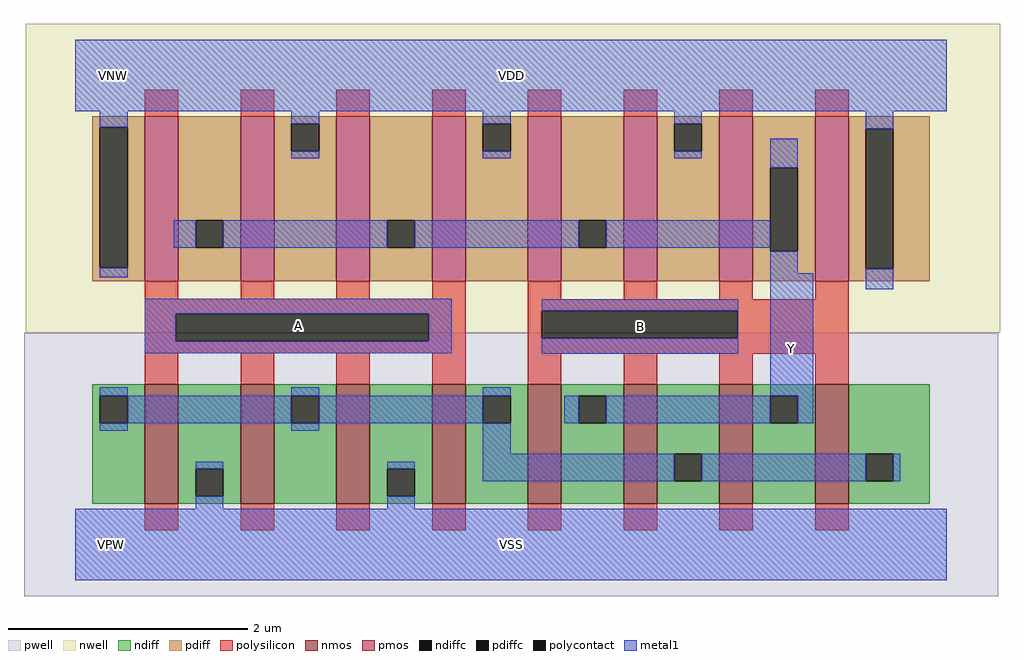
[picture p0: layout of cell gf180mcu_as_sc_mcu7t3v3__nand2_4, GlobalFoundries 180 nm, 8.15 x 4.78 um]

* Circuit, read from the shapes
.subckt gf180mcu_as_sc_mcu7t3v3__nand2_4 VDD VNW VPW VSS Y A B
XM1 VSS A n1 VPW nfet_03v3 w=1u l=0.28u m=4
XM2 Y B n1 VPW nfet_03v3 w=1u l=0.28u m=4
XM3 Y A VDD VNW pfet_03v3 w=1.38u l=0.28u m=4
XM4 Y B VDD VNW pfet_03v3 w=1.38u l=0.28u m=4
.ends

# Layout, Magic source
magic
tech gf180mcuD
magscale 1 10
<< nwell >>
rect -83 354 1545 870
<< pwell >>
rect -86 -86 1542 354
<< nmos >>
rect 116 68 172 268
rect 276 68 332 268
rect 436 68 492 268
rect 596 68 652 268
rect 756 68 812 268
rect 916 68 972 268
rect 1076 68 1132 268
rect 1236 68 1292 268
<< pmos >>
rect 116 440 172 716
rect 276 440 332 716
rect 436 440 492 716
rect 596 440 652 716
rect 756 440 812 716
rect 916 440 972 716
rect 1076 440 1132 716
rect 1236 440 1292 716
<< ndiff >>
rect 28 249 116 268
rect 28 203 41 249
rect 87 203 116 249
rect 28 68 116 203
rect 172 127 276 268
rect 172 81 201 127
rect 247 81 276 127
rect 172 68 276 81
rect 332 249 436 268
rect 332 203 361 249
rect 407 203 436 249
rect 332 68 436 203
rect 492 127 596 268
rect 492 81 521 127
rect 567 81 596 127
rect 492 68 596 81
rect 652 249 756 268
rect 652 203 681 249
rect 727 203 756 249
rect 652 68 756 203
rect 812 249 916 268
rect 812 203 841 249
rect 887 203 916 249
rect 812 68 916 203
rect 972 152 1076 268
rect 972 106 1001 152
rect 1047 106 1076 152
rect 972 68 1076 106
rect 1132 249 1236 268
rect 1132 203 1161 249
rect 1207 203 1236 249
rect 1132 68 1236 203
rect 1292 152 1428 268
rect 1292 106 1321 152
rect 1367 106 1428 152
rect 1292 68 1428 106
<< pdiff >>
rect 28 697 116 716
rect 28 463 41 697
rect 87 463 116 697
rect 28 440 116 463
rect 172 542 276 716
rect 172 496 201 542
rect 247 496 276 542
rect 172 440 276 496
rect 332 703 436 716
rect 332 657 361 703
rect 407 657 436 703
rect 332 440 436 657
rect 492 542 596 716
rect 492 496 521 542
rect 567 496 596 542
rect 492 440 596 496
rect 652 703 756 716
rect 652 657 681 703
rect 727 657 756 703
rect 652 440 756 657
rect 812 542 916 716
rect 812 496 841 542
rect 887 496 916 542
rect 812 440 916 496
rect 972 703 1076 716
rect 972 657 1001 703
rect 1047 657 1076 703
rect 972 440 1076 657
rect 1132 630 1236 716
rect 1132 490 1161 630
rect 1207 490 1236 630
rect 1132 440 1236 490
rect 1292 695 1428 716
rect 1292 461 1321 695
rect 1367 461 1428 695
rect 1292 440 1428 461
<< ndiffc >>
rect 41 203 87 249
rect 201 81 247 127
rect 361 203 407 249
rect 521 81 567 127
rect 681 203 727 249
rect 841 203 887 249
rect 1001 106 1047 152
rect 1161 203 1207 249
rect 1321 106 1367 152
<< pdiffc >>
rect 41 463 87 697
rect 201 496 247 542
rect 361 657 407 703
rect 521 496 567 542
rect 681 657 727 703
rect 841 496 887 542
rect 1001 657 1047 703
rect 1161 490 1207 630
rect 1321 461 1367 695
<< polysilicon >>
rect 116 716 172 760
rect 276 716 332 760
rect 436 716 492 760
rect 596 716 652 760
rect 756 716 812 760
rect 916 716 972 760
rect 1076 716 1132 760
rect 1236 716 1292 760
rect 116 411 172 440
rect 276 411 332 440
rect 436 411 492 440
rect 596 411 652 440
rect 116 386 652 411
rect 116 340 168 386
rect 590 340 652 386
rect 116 320 652 340
rect 116 268 172 320
rect 276 268 332 320
rect 436 268 492 320
rect 596 268 652 320
rect 756 410 812 440
rect 916 410 972 440
rect 1076 410 1132 440
rect 1236 410 1292 440
rect 756 391 1292 410
rect 756 345 779 391
rect 1107 345 1292 391
rect 756 319 1292 345
rect 756 268 812 319
rect 916 268 972 319
rect 1076 268 1132 319
rect 1236 268 1292 319
rect 116 24 172 68
rect 276 24 332 68
rect 436 24 492 68
rect 596 24 652 68
rect 756 24 812 68
rect 916 24 972 68
rect 1076 24 1132 68
rect 1236 24 1292 68
<< polycontact >>
rect 168 340 590 386
rect 779 345 1107 391
<< metal1 >>
rect 0 724 1456 844
rect 41 697 87 724
rect 361 703 407 724
rect 361 646 407 657
rect 681 703 727 724
rect 681 646 727 657
rect 1001 703 1047 724
rect 1321 695 1367 724
rect 1001 646 1047 657
rect 1161 630 1207 678
rect 164 496 201 542
rect 247 496 521 542
rect 567 496 841 542
rect 887 496 1161 542
rect 41 447 87 463
rect 1161 453 1207 490
rect 116 386 629 411
rect 116 340 168 386
rect 590 340 629 386
rect 116 320 629 340
rect 779 391 1108 410
rect 1107 345 1108 391
rect 779 319 1108 345
rect 41 249 87 263
rect 361 249 407 263
rect 681 249 727 263
rect 1161 249 1233 453
rect 1321 427 1367 461
rect 87 203 361 249
rect 407 203 681 249
rect 817 203 841 249
rect 887 203 1161 249
rect 1207 203 1233 249
rect 41 190 87 203
rect 361 190 407 203
rect 681 152 727 203
rect 201 127 247 138
rect 201 60 247 81
rect 521 127 567 138
rect 681 106 1001 152
rect 1047 106 1321 152
rect 1367 106 1378 152
rect 521 60 567 81
rect 0 -60 1456 60
<< labels >>
rlabel metal1 s 0 724 1456 844 4 VDD
port 8 nsew
rlabel nwell s 13 734 113 834 4 VNW
port 9 nsew
rlabel pwell s 10 -50 110 50 4 VPW
port 10 nsew
rlabel metal1 s 0 -60 1456 60 4 VSS
port 11 nsew
rlabel metal1 s 1161 203 1233 453 4 Y
port 12 nsew
rlabel metal1 s 116 320 629 411 4 A
port 13 nsew
rlabel metal1 s 779 319 1108 410 4 B
port 14 nsew
<< properties >>
string FIXED_BBOX 0 0 1456 784
string MASKHINTS_NPLUS -16 -46 1472 354
string MASKHINTS_PPLUS -13 354 1475 830
<< end >>
